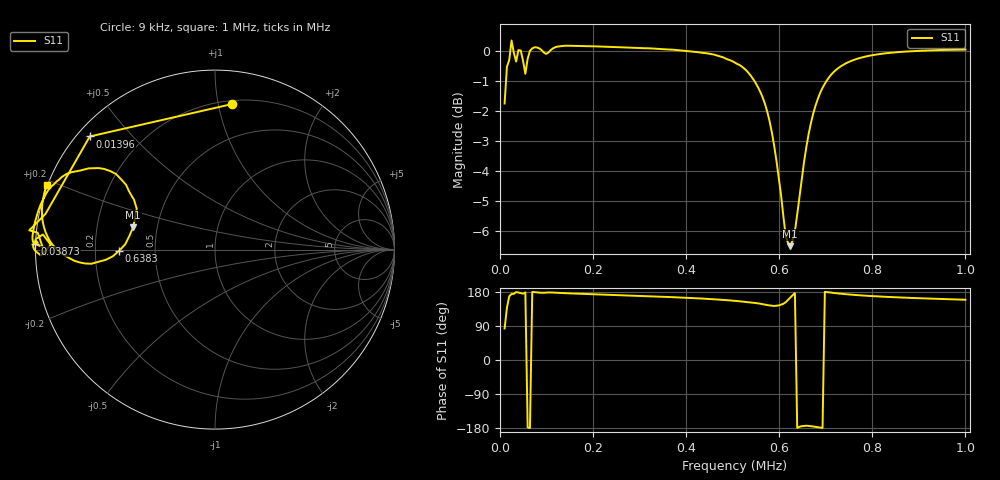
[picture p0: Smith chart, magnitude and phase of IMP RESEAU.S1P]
!Agilent Technologies,E5071C,MY46109397,A.09.54
!Date: Mon Jan 01 01:26:33 2001
!Data & Calibration Information:
!Freq	S11:SOLT1(ON)
# Hz S RI R 50
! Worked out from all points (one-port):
!   201 points, 9 kHz to 1 MHz, reference 50 ohm
!   lowest |S11| = -6.5 dB at 623.4 kHz (marker M1), VSWR 2.79, Z = 18.2 + j5.79 ohm
!   |S11| at or under -10 dB: nowhere
!   S11 on the Smith chart (normalised r, x): 9 kHz: 0.23, +1.10; 13.96 kHz: 0.04, +0.38; 38.73 kHz: -0.00, +0.02; 638.3 kHz: 0.30, -0.01; 1 MHz: -0.00, +0.18
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9000  0.0968 0.8113
13955  -0.6977 0.6302
18910  -0.944 0.1995
23865  -1.035 0.1074
28820  -0.9878 0.0939
33775  -0.9595 0.0118
38730  -1.002 0.0337
48640  -0.9585 0.0841
53595  -0.9151 0.0267
58550  -0.9691 -0.033
68460  -1.009 0.00427
98190  -0.9873 0.0374
132875  -1.016 0.0602
256750  -1.002 0.1581
380625  -0.9697 0.2555
504500  -0.874 0.3857
549095  -0.7673 0.4372
583780  -0.5854 0.4383
608555  -0.4514 0.278
623420  -0.4564 0.1237
628375  -0.4772 0.0759
638285  -0.5339 -0.00647
658105  -0.6881 -0.0789
687835  -0.8512 -0.0247
712610  -0.9141 0.0391
752250  -0.9523 0.1237
876125  -0.9596 0.2721
1000000  -0.9383 0.359
